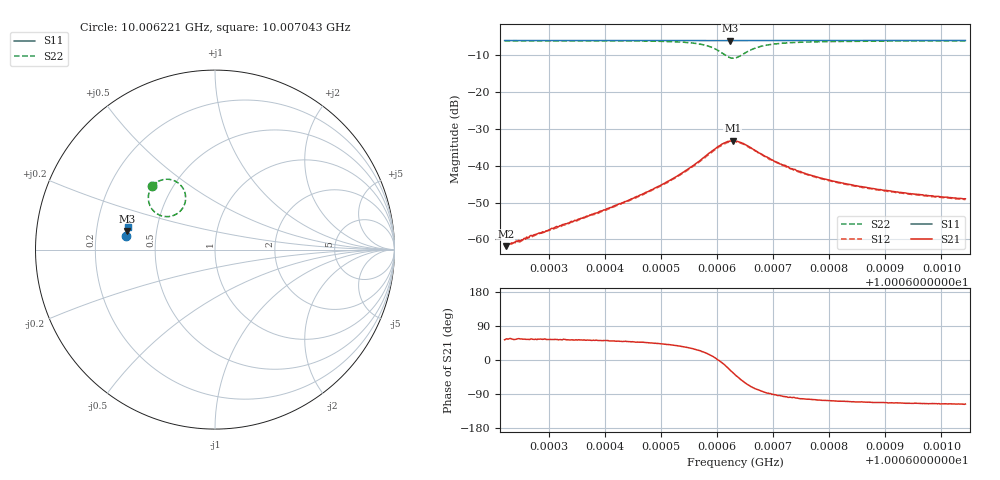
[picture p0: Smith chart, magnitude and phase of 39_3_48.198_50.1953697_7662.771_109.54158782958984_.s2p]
#  HZ  S  RI  R  50.00
! Rohde & Schwarz Vector Network Analyzer
! Rohde-Schwarz,ZNB20-2Port,1311601062101988,3.16
! Created: UTC 3/20/2024, 11:37:48 AM
! freq[Hz]  re:S11  im:S11  re:S21  im:S21  re:S12  im:S12  re:S22  im:S22
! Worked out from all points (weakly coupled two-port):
!   401 points, 10.006221 GHz to 10.007043 GHz, reference 50 ohm
!   highest |S21| = -33.21 dB at 10.006628 GHz (marker M1); lowest = -61.8 dB at 10.006223 GHz (marker M2)
!   lowest |S11| = -6.0 dB at 10.006624 GHz (marker M3), VSWR 3.00, Z = 16.8 + j4.57 ohm
!   |S11| at or under -10 dB: nowhere
!   |S22| runs from -10.8 to -6.0 dB; largest |S21 - S12| = 0.0016
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1.00062212e10  -0.4961 0.0763  0.000494 0.000665  0.000427 0.000699  -0.3532 0.3534
1.00062233e10  -0.4962 0.0767  0.000466 0.000662  0.000429 0.000685  -0.3531 0.3535
1.00062458e10  -0.4958 0.0782  0.000538 0.000808  0.000472 0.000807  -0.3511 0.3553
1.00063588e10  -0.4949 0.0856  0.00116 0.00154  0.00109 0.00156  -0.3385 0.3665
1.00064389e10  -0.494 0.091  0.00218 0.0025  0.00202 0.00255  -0.3231 0.3769
1.00064965e10  -0.4933 0.0948  0.00384 0.00363  0.00359 0.00371  -0.3022 0.3864
1.00065396e10  -0.4926 0.0977  0.00665 0.00468  0.00626 0.00485  -0.2712 0.3921
1.00065786e10  -0.4915 0.1003  0.0126 0.00446  0.012 0.00475  -0.2146 0.3775
1.0006593e10  -0.491 0.101  0.016 0.00257  0.0155 0.00318  -0.1859 0.3524
1.00066074e10  -0.4904 0.1015  0.0193 -0.00188  0.0188 -0.000864  -0.1648 0.3046
1.00066238e10  -0.4899 0.1019  0.0192 -0.01  0.0193 -0.00859  -0.1806 0.2305
1.00066279e10  -0.4901 0.102  0.0183 -0.0119  0.0186 -0.0104  -0.1936 0.2143
1.0006632e10  -0.4902 0.1019  0.017 -0.0136  0.0174 -0.0123  -0.2094 0.2014
1.00066485e10  -0.4904 0.1024  0.0102 -0.0169  0.0111 -0.016  -0.28 0.1844
1.00066628e10  -0.4908 0.1033  0.00524 -0.0162  0.00629 -0.0157  -0.3253 0.201
1.00066793e10  -0.4911 0.1046  0.002 -0.0143  0.00274 -0.0139  -0.3531 0.2285
1.0006706e10  -0.4909 0.1066  -0.000493 -0.0112  7.37e-05 -0.0111  -0.3689 0.2648
1.00067327e10  -0.4909 0.1084  -0.00141 -0.00903  -0.00101 -0.00897  -0.3716 0.2888
1.00067696e10  -0.4906 0.1109  -0.00182 -0.00712  -0.00145 -0.00706  -0.3693 0.3097
1.00068313e10  -0.4898 0.115  -0.00186 -0.00535  -0.00163 -0.00531  -0.363 0.3297
1.00069073e10  -0.4888 0.1199  -0.00179 -0.0042  -0.00157 -0.00419  -0.3557 0.344
1.00070428e10  -0.4868 0.1285  -0.00158 -0.0032  -0.0014 -0.00317  -0.3451 0.3592
